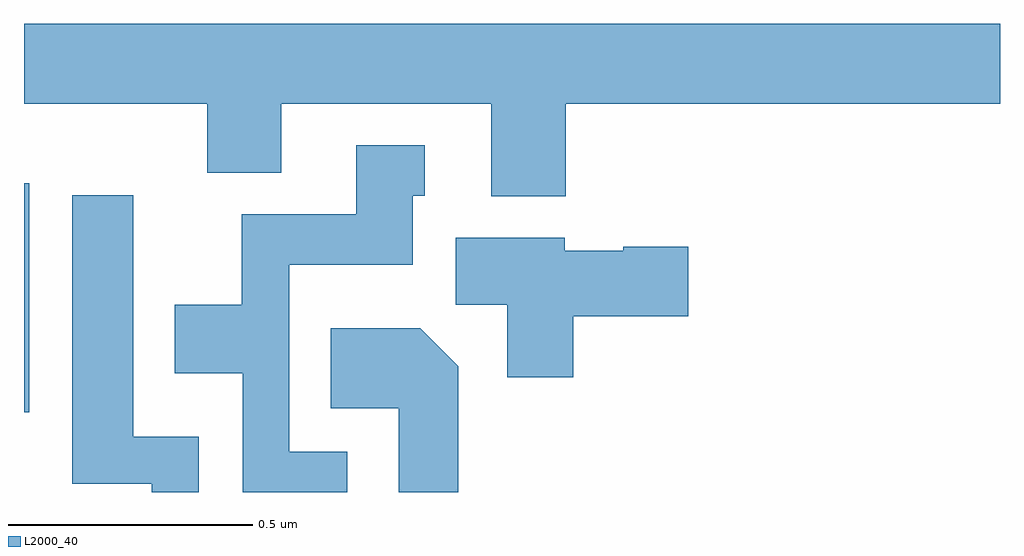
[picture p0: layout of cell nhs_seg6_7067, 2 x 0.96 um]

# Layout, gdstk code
import gdstk
lib = gdstk.Library(unit=1e-6, precision=1e-09)
def R(c, l, rs):  # rectangles x0, y0, x1, y1
    for r in rs: c.add(gdstk.rectangle(r[:2], r[2:], *l))
def P(c, l, *ps):  # polygons
    for p in ps: c.add(gdstk.Polygon(p, *l))
L2000_40 = (2000, 40)

nhs_seg6_7067 = lib.new_cell('nhs_seg6_7067')
R(nhs_seg6_7067, L2000_40, [(203,986.664,203.011,987.133)])
P(nhs_seg6_7067, L2000_40, [(204.11,987.296),(205,987.296),(205,987.46),(203,987.46),(203,987.296),(203.375,987.296),(203.375,987.155),(203.527,987.155),(203.527,987.296),(203.957,987.296),(203.957,987.107),(204.11,987.107)],
  [(203.662,986.583),(203.544,986.583),(203.544,986.966),(203.797,986.966),(203.797,987.108),(203.821,987.108),(203.821,987.211),(203.681,987.211),(203.681,987.07),(203.446,987.07),(203.446,986.884),(203.309,986.884),(203.309,986.744),(203.448,986.744),(203.448,986.5),(203.662,986.5)],
  [(203.358,986.614),(203.224,986.614),(203.224,987.109),(203.099,987.109),(203.099,986.517),(203.262,986.517),(203.262,986.5),(203.358,986.5)],
  [(204.125,986.861),(204.361,986.861),(204.361,987.003),(204.228,987.003),(204.228,986.995),(204.108,986.995),(204.108,987.022),(203.885,987.022),(203.885,986.884),(203.99,986.884),(203.99,986.736),(204.125,986.736)],
  [(203.89,986.758),(203.812,986.836),(203.629,986.836),(203.629,986.672),(203.768,986.672),(203.768,986.5),(203.89,986.5)])

lib.write_gds('nhs_seg6_7067.gds')
